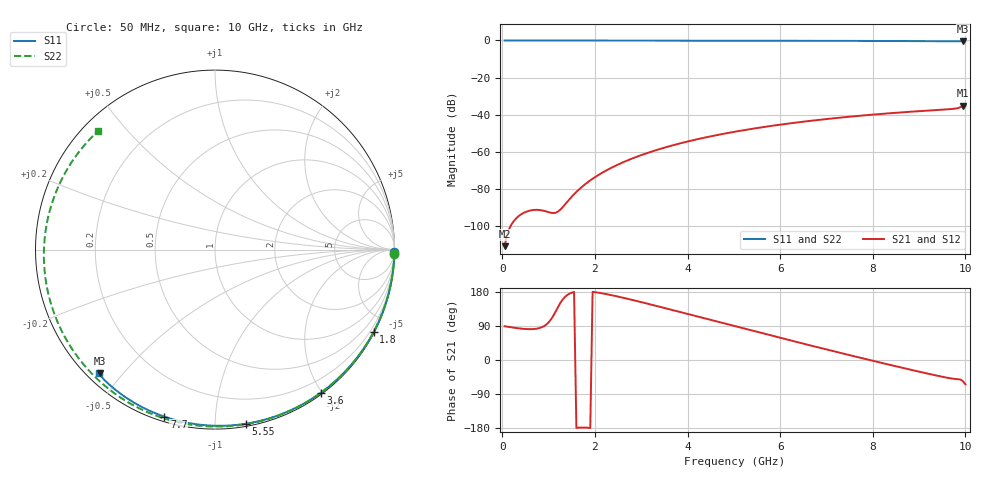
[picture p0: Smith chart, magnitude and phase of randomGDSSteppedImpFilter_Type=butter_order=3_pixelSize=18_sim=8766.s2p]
! freq	dB(S11)	phase(S11)	dB(S12)	phase(S12)
!  dB(S21)	phase(S21)	dB(S22)	phase(S22)
!S-par simulation data
#  GHz  S  DB  R 50
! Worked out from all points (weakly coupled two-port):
!   200 points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, 50 MHz to 10 GHz, reference 50 ohm
!   highest |S21| = -35.23 dB at 9.95 GHz (marker M1); lowest = -111.0 dB at 50 MHz (marker M2)
!   lowest |S11| = -0.5 dB at 9.95 GHz (marker M3), VSWR 33.30, Z = 1.78 - j21.7 ohm
!   |S11| at or under -10 dB: nowhere
!   |S22| runs from -0.6 to 0.0 dB; largest |S21 - S12| = 0
!   S11 on the Smith chart (normalised r, x): 50 MHz: open; 1.8 GHz: 0.04, -4.10; 3.6 GHz: 0.02, -1.98; 5.55 GHz: 0.02, -1.19; 7.7 GHz: 0.02, -0.74; 10 GHz: 0.03, -0.43
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0.05  -0.00 -0.8  -111.04 89.1  -111.04 89.1  -0.00 -1.3
0.8  -0.02 -12.3  -91.51 84.2  -91.51 84.2  -0.03 -20.1
1.65  -0.03 -25.2  -80.56 -178.5  -80.56 -178.5  -0.05 -41.0
1.75  -0.03 -26.7  -78.39 -178.2  -78.39 -178.2  -0.06 -43.4
1.8  -0.03 -27.4  -77.38 -178.4  -77.38 -178.4  -0.06 -44.6
2.1  -0.04 -31.9  -72.24 177.1  -72.24 177.1  -0.07 -51.8
2.5  -0.05 -37.8  -66.97 167.3  -66.97 167.3  -0.08 -61.2
2.9  -0.06 -43.6  -62.81 155.8  -62.81 155.8  -0.09 -70.4
3.4  -0.07 -50.8  -58.60 140.4  -58.60 140.4  -0.11 -81.6
3.6  -0.07 -53.6  -57.15 134.2  -57.15 134.2  -0.11 -86.0
4.3  -0.09 -63.3  -52.82 112.0  -52.82 112.0  -0.14 -101.2
5.05  -0.11 -73.5  -49.14 88.3  -49.14 88.3  -0.18 -116.9
5.55  -0.13 -80.0  -47.08 72.6  -47.08 72.6  -0.21 -127.2
6.15  -0.15 -87.8  -44.95 53.9  -44.95 53.9  -0.25 -139.5
6.7  -0.18 -94.7  -43.25 37.0  -43.25 37.0  -0.29 -150.8
7.7  -0.24 -106.9  -40.69 6.8  -40.69 6.8  -0.38 -171.7
8.35  -0.29 -114.6  -39.32 -12.3  -39.32 -12.3  -0.45 174.1
9.05  -0.35 -122.8  -38.08 -32.2  -38.08 -32.2  -0.53 158.1
9.75  -0.43 -131.0  -36.88 -49.6  -36.88 -49.6  -0.62 141.0
9.85  -0.46 -132.2  -36.45 -50.9  -36.45 -50.9  -0.63 138.5
9.95  -0.52 -133.1  -35.23 -56.5  -35.23 -56.5  -0.64 136.0
10  -0.49 -133.4  -35.43 -64.3  -35.43 -64.3  -0.64 134.7
